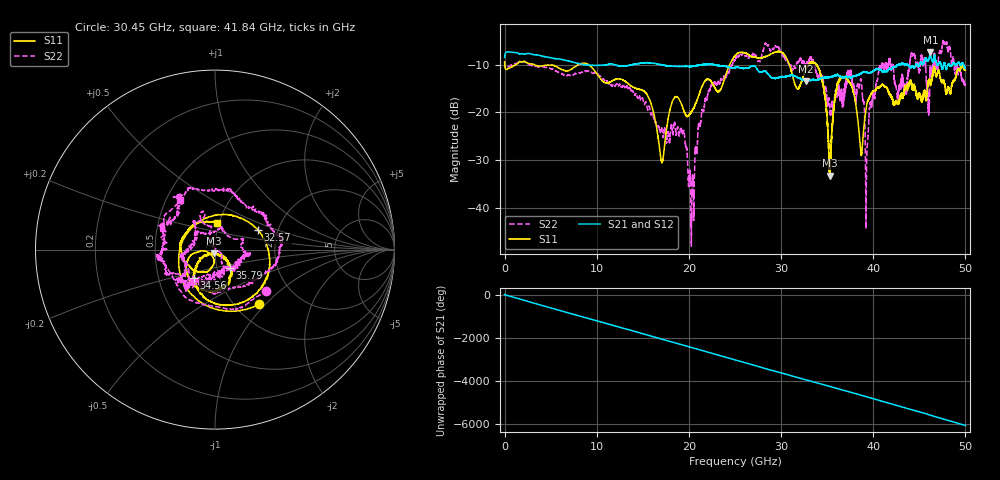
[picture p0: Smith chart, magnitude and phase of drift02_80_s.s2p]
!Created with skrf (http://scikit-rf.org).
# Hz S RI R 50.0
!freq ReS11 ImS11 ReS21 ImS21 ReS12 ImS12 ReS22 ImS22
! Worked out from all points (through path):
!   10001 points, 300 kHz to 50 GHz, reference 50 ohm
!   highest |S21| = -7.31 dB at 46.2 GHz (marker M1); lowest = -13.5 dB at 32.73 GHz (marker M2)
!   group delay of S21, straight-line fit = 335 ps
!   lowest |S11| = -33.2 dB at 35.28 GHz (marker M3), VSWR 1.04, Z = 49.5 - j2.1 ohm
!   |S11| at or under -10 dB: 3.232 GHz to 8.005 GHz (4.773 GHz wide, 85 % of centre); 9.108 GHz to 24.41 GHz (15.31 GHz wide, 91.3 % of centre); 33.84 GHz to end of sweep (the widest 3 of 8)
!   |S22| runs from -48.0 to -4.9 dB; largest |S21 - S12| = 0.014
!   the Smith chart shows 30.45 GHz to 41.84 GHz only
!   S11 on the Smith chart (normalised r, x): 30.45 GHz: 1.28, -0.91; 32.57 GHz: 1.58, +0.37; 34.56 GHz: 0.76, -0.25; 35.79 GHz: 1.15, -0.24; 41.84 GHz: 0.98, +0.30
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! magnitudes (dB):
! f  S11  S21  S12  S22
! 300 kHz  -9.4  -8.5  -8.4  -9.4
! 8.335 GHz  -9.7  -9.9  -9.9  -11.6
! 16.67 GHz  -25.5  -9.9  -9.9  -22.8
! 19.3 GHz  -18.9  -10.4  -10.3  -24.4
! 20.37 GHz  -19.6  -10.3  -10.3  -34.2
! 21.94 GHz  -13.1  -9.9  -9.9  -17.3
! 25 GHz  -8.2  -10.6  -10.6  -9.0
! 30.45 GHz  -8.2  -12.5  -12.5  -8.7
! 32.57 GHz  -11.6  -13.2  -13.2  -10.3
! 32.73 GHz  -10.9  -13.5  -13.5  -9.9
! 33.34 GHz  -9.5  -13.1  -13.2  -9.0
! 34.56 GHz  -14.2  -12.8  -12.7  -12.7
! 35.28 GHz  -33.2  -12.6  -12.5  -18.8
! 35.79 GHz  -17.6  -12.4  -12.3  -17.3
! 37.25 GHz  -13.2  -12.6  -12.6  -11.4
! 38.54 GHz  -25.8  -12.0  -12.0  -14.1
! 39.32 GHz  -18.2  -11.6  -11.6  -28.3
! 41.67 GHz  -15.8  -10.9  -11.1  -9.5
! 41.84 GHz  -16.5  -10.9  -10.9  -9.5
! 46.2 GHz  -13.7  -7.3  -7.2  -10.6
! 47.76 GHz  -14.2  -9.7  -9.7  -5.4
! 50 GHz  -11.1  -10.8  -10.8  -14.0
